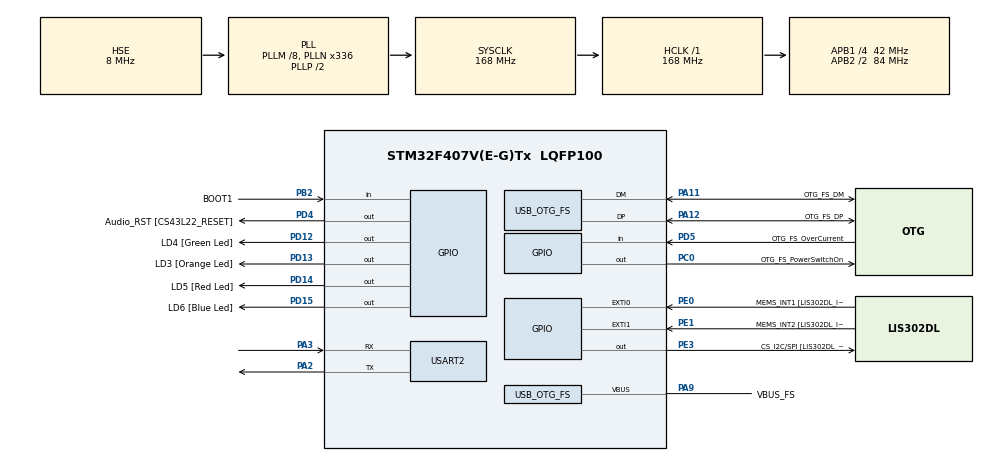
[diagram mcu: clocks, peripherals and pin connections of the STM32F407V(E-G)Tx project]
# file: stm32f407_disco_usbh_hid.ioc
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Mcu.Family=STM32F4
Mcu.Name=STM32F407V(E-G)Tx
Mcu.Package=LQFP100
NVIC.OTG_FS_IRQn=true\:0\:0\:false\:false\:true
NVIC.PriorityGroup=NVIC_PRIORITYGROUP_0
PA10.GPIO_Label=OTG_FS_ID
PA10.GPIO_Mode=GPIO_MODE_AF_PP
PA10.GPIO_PuPd=GPIO_NOPULL
PA10.GPIO_Speed=GPIO_SPEED_FREQ_LOW
PA10.Signal=USB_OTG_FS_ID
PA11.GPIO_Label=OTG_FS_DM
PA11.GPIO_Mode=GPIO_MODE_AF_PP
PA11.GPIO_PuPd=GPIO_NOPULL
PA11.GPIO_Speed=GPIO_SPEED_FREQ_LOW
PA11.Mode=Host_Only
PA11.Signal=USB_OTG_FS_DM
PA12.GPIO_Label=OTG_FS_DP
PA12.GPIO_Mode=GPIO_MODE_AF_PP
PA12.GPIO_PuPd=GPIO_NOPULL
PA12.GPIO_Speed=GPIO_SPEED_FREQ_LOW
PA12.Mode=Host_Only
PA12.Signal=USB_OTG_FS_DP
PA13.GPIO_Label=SWDIO
PA13.Mode=Serial_Wire
PA13.Signal=SYS_JTMS-SWDIO
PA14.GPIO_Label=SWCLK
PA14.Mode=Serial_Wire
PA14.Signal=SYS_JTCK-SWCLK
PA2.Mode=Asynchronous
PA2.Signal=USART2_TX
PA3.Mode=Asynchronous
PA3.Signal=USART2_RX
PA4.GPIO_Label=I2S3_WS [CS43L22_LRCK]
PA4.GPIO_Mode=GPIO_MODE_AF_PP
PA4.GPIO_PuPd=GPIO_NOPULL
PA4.GPIO_Speed=GPIO_SPEED_FREQ_LOW
PA4.Signal=I2S3_WS
PA5.GPIO_Label=SPI1_SCK [LIS302DL_SCL/SPC]
PA5.GPIO_Mode=GPIO_MODE_AF_PP
PA5.GPIO_PuPd=GPIO_NOPULL
PA5.GPIO_Speed=GPIO_SPEED_FREQ_LOW
PA5.Signal=SPI1_SCK
PA6.GPIO_Label=SPI1_MISO [LIS302DL_SDO]
PA6.GPIO_Mode=GPIO_MODE_AF_PP
PA6.GPIO_PuPd=GPIO_NOPULL
PA6.GPIO_Speed=GPIO_SPEED_FREQ_LOW
PA6.Signal=SPI1_MISO
PA7.GPIO_Label=SPI1_MOSI [LIS302DL_SDA/SDI/SDO]
PA7.GPIO_Mode=GPIO_MODE_AF_PP
PA7.GPIO_PuPd=GPIO_NOPULL
PA7.GPIO_Speed=GPIO_SPEED_FREQ_LOW
PA7.Signal=SPI1_MOSI
PA9.GPIO_Label=VBUS_FS
PA9.GPIO_Mode=GPIO_MODE_INPUT
PA9.GPIO_PuPd=GPIO_NOPULL
PA9.Mode=Activate_VBUS
PA9.Signal=USB_OTG_FS_VBUS
PB10.GPIO_Label=CLK_IN [MP45DT02_CLK]
PB10.GPIO_Mode=GPIO_MODE_AF_PP
PB10.GPIO_PuPd=GPIO_NOPULL
PB10.GPIO_Speed=GPIO_SPEED_FREQ_LOW
PB10.Signal=I2S2_CK
PB2.GPIO_Label=BOOT1
PB2.GPIO_Mode=GPIO_MODE_INPUT
PB2.GPIO_PuPd=GPIO_NOPULL
PB2.Signal=GPIO_Input
PB3.GPIO_Label=SWO
PB3.Signal=SYS_JTDO-SWO
PB6.GPIO_Label=Audio_SCL [CS43L22_SCL]
PB6.GPIO_Mode=GPIO_MODE_AF_OD
PB6.GPIO_PuPd=GPIO_NOPULL
PB6.GPIO_Speed=GPIO_SPEED_FREQ_LOW
PB6.Signal=I2C1_SCL
PB9.GPIO_Label=Audio_SDA [CS43L22_SDA]
PB9.GPIO_Mode=GPIO_MODE_AF_OD
PB9.GPIO_PuPd=GPIO_NOPULL
PB9.GPIO_Speed=GPIO_SPEED_FREQ_LOW
PB9.Signal=I2C1_SDA
PC0.GPIO_Label=OTG_FS_PowerSwitchOn
PC0.GPIO_PuPd=GPIO_NOPULL
PC0.GPIO_Speed=GPIO_SPEED_FREQ_LOW
PC0.PinState=GPIO_PIN_SET
PC0.Signal=GPIO_Output
PC10.GPIO_Label=I2S3_SCK [CS43L22_SCLK]
PC10.GPIO_Mode=GPIO_MODE_AF_PP
PC10.GPIO_PuPd=GPIO_NOPULL
PC10.GPIO_Speed=GPIO_SPEED_FREQ_LOW
PC10.Signal=I2S3_CK
PC12.GPIO_Label=I2S3_SD [CS43L22_SDIN]
PC12.GPIO_Mode=GPIO_MODE_AF_PP
PC12.GPIO_PuPd=GPIO_NOPULL
PC12.GPIO_Speed=GPIO_SPEED_FREQ_LOW
PC12.Signal=I2S3_SD
PC14-OSC32_IN.GPIO_Label=PC14-OSC32_IN
PC14-OSC32_IN.Signal=RCC_OSC32_IN
PC15-OSC32_OUT.GPIO_Label=PC15-OSC32_OUT
PC15-OSC32_OUT.Signal=RCC_OSC32_OUT
PC3.GPIO_Label=PDM_OUT [MP45DT02_DOUT]
PC3.GPIO_Mode=GPIO_MODE_AF_PP
PC3.GPIO_PuPd=GPIO_NOPULL
PC3.GPIO_Speed=GPIO_SPEED_FREQ_LOW
PC3.Signal=I2S2_SD
PC7.GPIO_Label=I2S3_MCK [CS43L22_MCLK]
PC7.GPIO_Mode=GPIO_MODE_AF_PP
PC7.GPIO_PuPd=GPIO_NOPULL
PC7.GPIO_Speed=GPIO_SPEED_FREQ_LOW
PC7.Signal=I2S3_MCK
PD12.GPIO_Label=LD4 [Green Led]
PD12.GPIO_PuPd=GPIO_NOPULL
PD12.GPIO_Speed=GPIO_SPEED_FREQ_LOW
PD12.Signal=GPIO_Output
PD13.GPIO_Label=LD3 [Orange Led]
PD13.GPIO_PuPd=GPIO_NOPULL
PD13.GPIO_Speed=GPIO_SPEED_FREQ_LOW
PD13.Signal=GPIO_Output
PD14.GPIO_Label=LD5 [Red Led]
PD14.GPIO_PuPd=GPIO_NOPULL
PD14.GPIO_Speed=GPIO_SPEED_FREQ_LOW
PD14.Signal=GPIO_Output
PD15.GPIO_Label=LD6 [Blue Led]
PD15.GPIO_PuPd=GPIO_NOPULL
PD15.GPIO_Speed=GPIO_SPEED_FREQ_LOW
PD15.Signal=GPIO_Output
PD4.GPIO_Label=Audio_RST [CS43L22_RESET]
PD4.GPIO_PuPd=GPIO_NOPULL
PD4.GPIO_Speed=GPIO_SPEED_FREQ_LOW
PD4.Signal=GPIO_Output
PD5.GPIO_Label=OTG_FS_OverCurrent
PD5.GPIO_Mode=GPIO_MODE_INPUT
PD5.GPIO_PuPd=GPIO_NOPULL
PD5.Signal=GPIO_Input
PE0.GPIO_Label=MEMS_INT1 [LIS302DL_INT1]
PE0.Signal=GPXTI0
PE1.GPIO_Label=MEMS_INT2 [LIS302DL_INT2]
PE1.GPIO_ModeDefaultEXTI=GPIO_MODE_EVT_RISING
PE1.GPIO_PuPd=GPIO_NOPULL
PE1.Signal=GPXTI1
PE3.GPIO_Label=CS_I2C/SPI [LIS302DL_CS_I2C/SPI]
PE3.GPIO_PuPd=GPIO_NOPULL
PE3.GPIO_Speed=GPIO_SPEED_FREQ_LOW
PE3.Signal=GPIO_Output
PH0-OSC_IN.GPIO_Label=PH0-OSC_IN
PH0-OSC_IN.Mode=HSE-External-Oscillator
PH0-OSC_IN.Signal=RCC_OSC_IN
PH1-OSC_OUT.GPIO_Label=PH1-OSC_OUT
PH1-OSC_OUT.Mode=HSE-External-Oscillator
PH1-OSC_OUT.Signal=RCC_OSC_OUT
ProjectManager.HeapSize=0x200
ProjectManager.StackSize=0x400
ProjectManager.TargetToolchain=TrueSTUDIO
RCC.48MHZClocksFreq_Value=48000000
RCC.AHBFreq_Value=168000000
RCC.APB1CLKDivider=RCC_HCLK_DIV4
RCC.APB1Freq_Value=42000000
RCC.APB1TimFreq_Value=84000000
RCC.APB2CLKDivider=RCC_HCLK_DIV2
RCC.APB2Freq_Value=84000000
RCC.APB2TimFreq_Value=168000000
RCC.CortexFreq_Value=168000000
RCC.HCLKFreq_Value=168000000
RCC.HSE_VALUE=8000000
RCC.HSI_VALUE=16000000
RCC.LSE_VALUE=32768
RCC.PLLM=8
RCC.PLLN=336
RCC.PLLQ=7
RCC.SYSCLKFreq_VALUE=168000000
RCC.SYSCLKSource=RCC_SYSCLKSOURCE_PLLCLK
RCC.VCOOutputFreq_Value=336000000
USB_HOST.USBH_DEBUG_LEVEL-HID_FS=3
USB_HOST.USBH_HandleTypeDef-HID_FS=hUsbHostFS
USB_HOST.VirtualModeFS=Hid
USB_OTG_FS.phy_itface=HCD_PHY_EMBEDDED
VP_USB_HOST_VS_USB_HOST_HID_FS.Mode=HID_FS
board=STM32F407G-DISC1

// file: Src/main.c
#include "stm32f4xx_hal.h"
#include "usb_host.h"

UART_HandleTypeDef huart2;

/* USER CODE BEGIN PV */
/* Private variables ---------------------------------------------------------*/

/* USER CODE END PV */

void SystemClock_Config(void);
void Error_Handler(void);
static void MX_GPIO_Init(void);
static void MX_USART2_UART_Init(void);
void MX_USB_HOST_Process(void);

/* USER CODE BEGIN PFP */
/* Private function prototypes -----------------------------------------------*/

/* USER CODE END PFP */

/* USER CODE BEGIN 0 */
int __io_putchar(int ch)
{
  while (!(USART2->SR & USART_SR_TXE)) {}
  USART2->DR = (uint32_t)ch;
  return ch;
}

int _write(int32_t file, uint8_t *ptr, int32_t len)
{
  int i;
  for (i=0; i<len; i++)
  {
    __io_putchar(*(ptr++));
  }
  /* Implement your write code here, this is used by puts and printf for example */
  return len;
}
/* USER CODE END 0 */

int main(void)
{

  /* USER CODE BEGIN 1 */
  uint32_t i = 0;
  /* USER CODE END 1 */

  /* MCU Configuration----------------------------------------------------------*/

  /* Reset of all peripherals, Initializes the Flash interface and the Systick. */
  HAL_Init();

  /* Configure the system clock */
  SystemClock_Config();

  /* Initialize all configured peripherals */
  MX_GPIO_Init();
  MX_USART2_UART_Init();
  MX_USB_HOST_Init();

  /* USER CODE BEGIN 2 */
  HAL_GPIO_WritePin(GPIOD, LD4_Pin, GPIO_PIN_SET);
  printf("hello world!\n");
  HAL_GPIO_WritePin(GPIOD, LD3_Pin, GPIO_PIN_SET);

  HAL_GPIO_WritePin(GPIOC, GPIO_PIN_0, GPIO_PIN_RESET); // Enable usb VBUS
  HAL_GPIO_WritePin(GPIOD, LD5_Pin, GPIO_PIN_SET);

  /* USER CODE END 2 */

  /* Infinite loop */
  while (1)
  {
    MX_USB_HOST_Process();
  /* USER CODE BEGIN 3 */
    if (i++ == 0x10000)
    {
//      GPIOC->ODR ^= GPIO_Pin_1;
      HAL_GPIO_TogglePin(GPIOD, LD5_Pin|LD6_Pin);
      i = 0;
    }
  }
  /* USER CODE END 3 */

}

/** System Clock Configuration
*/
void SystemClock_Config(void)
{

  RCC_OscInitTypeDef RCC_OscInitStruct;
  RCC_ClkInitTypeDef RCC_ClkInitStruct;

  __HAL_RCC_PWR_CLK_ENABLE();

  __HAL_PWR_VOLTAGESCALING_CONFIG(PWR_REGULATOR_VOLTAGE_SCALE1);

  RCC_OscInitStruct.OscillatorType = RCC_OSCILLATORTYPE_HSE;
  RCC_OscInitStruct.HSEState = RCC_HSE_ON;
  RCC_OscInitStruct.PLL.PLLState = RCC_PLL_ON;
  RCC_OscInitStruct.PLL.PLLSource = RCC_PLLSOURCE_HSE;
  RCC_OscInitStruct.PLL.PLLM = 8;
  RCC_OscInitStruct.PLL.PLLN = 336;
  RCC_OscInitStruct.PLL.PLLP = RCC_PLLP_DIV2;
  RCC_OscInitStruct.PLL.PLLQ = 7;
  if (HAL_RCC_OscConfig(&RCC_OscInitStruct) != HAL_OK)
  {
    Error_Handler();
  }

  RCC_ClkInitStruct.ClockType = RCC_CLOCKTYPE_HCLK|RCC_CLOCKTYPE_SYSCLK
                              |RCC_CLOCKTYPE_PCLK1|RCC_CLOCKTYPE_PCLK2;
  RCC_ClkInitStruct.SYSCLKSource = RCC_SYSCLKSOURCE_PLLCLK;
  RCC_ClkInitStruct.AHBCLKDivider = RCC_SYSCLK_DIV1;
  RCC_ClkInitStruct.APB1CLKDivider = RCC_HCLK_DIV4;
  RCC_ClkInitStruct.APB2CLKDivider = RCC_HCLK_DIV2;
  if (HAL_RCC_ClockConfig(&RCC_ClkInitStruct, FLASH_LATENCY_5) != HAL_OK)
  {
    Error_Handler();
  }

  HAL_SYSTICK_Config(HAL_RCC_GetHCLKFreq()/1000);

  HAL_SYSTICK_CLKSourceConfig(SYSTICK_CLKSOURCE_HCLK);

  /* SysTick_IRQn interrupt configuration */
  HAL_NVIC_SetPriority(SysTick_IRQn, 0, 0);
}

/* USART2 init function */
static void MX_USART2_UART_Init(void)
{

  huart2.Instance = USART2;
  huart2.Init.BaudRate = 115200;
  huart2.Init.WordLength = UART_WORDLENGTH_8B;
  huart2.Init.StopBits = UART_STOPBITS_1;
  huart2.Init.Parity = UART_PARITY_NONE;
  huart2.Init.Mode = UART_MODE_TX_RX;
  huart2.Init.HwFlowCtl = UART_HWCONTROL_NONE;
  huart2.Init.OverSampling = UART_OVERSAMPLING_16;
  if (HAL_UART_Init(&huart2) != HAL_OK)
  {
    Error_Handler();
  }

}

/** Configure pins as
        * Analog
        * Input
        * Output
        * EVENT_OUT
        * EXTI
     PC3   ------> I2S2_SD
     PA4   ------> I2S3_WS
     PA5   ------> SPI1_SCK
     PA6   ------> SPI1_MISO
     PA7   ------> SPI1_MOSI
     PB10   ------> I2S2_CK
     PC7   ------> I2S3_MCK
     PC10   ------> I2S3_CK
     PC12   ------> I2S3_SD
     PB6   ------> I2C1_SCL
     PB9   ------> I2C1_SDA
*/
static void MX_GPIO_Init(void)
{

  GPIO_InitTypeDef GPIO_InitStruct;

  /* GPIO Ports Clock Enable */
  __HAL_RCC_GPIOE_CLK_ENABLE();
  __HAL_RCC_GPIOC_CLK_ENABLE();
  __HAL_RCC_GPIOH_CLK_ENABLE();
  __HAL_RCC_GPIOA_CLK_ENABLE();
  __HAL_RCC_GPIOB_CLK_ENABLE();
  __HAL_RCC_GPIOD_CLK_ENABLE();

  /*Configure GPIO pin Output Level */
  HAL_GPIO_WritePin(CS_I2C_SPI_GPIO_Port, CS_I2C_SPI_Pin, GPIO_PIN_RESET);

  /*Configure GPIO pin Output Level */
  HAL_GPIO_WritePin(OTG_FS_PowerSwitchOn_GPIO_Port, OTG_FS_PowerSwitchOn_Pin, GPIO_PIN_SET);

  /*Configure GPIO pin Output Level */
  HAL_GPIO_WritePin(GPIOD, LD4_Pin|LD3_Pin|LD5_Pin|LD6_Pin
                          |Audio_RST_Pin, GPIO_PIN_RESET);

  /*Configure GPIO pin : CS_I2C_SPI_Pin */
  GPIO_InitStruct.Pin = CS_I2C_SPI_Pin;
  GPIO_InitStruct.Mode = GPIO_MODE_OUTPUT_PP;
  GPIO_InitStruct.Pull = GPIO_NOPULL;
  GPIO_InitStruct.Speed = GPIO_SPEED_FREQ_LOW;
  HAL_GPIO_Init(CS_I2C_SPI_GPIO_Port, &GPIO_InitStruct);

  /*Configure GPIO pin : OTG_FS_PowerSwitchOn_Pin */
  GPIO_InitStruct.Pin = OTG_FS_PowerSwitchOn_Pin;
  GPIO_InitStruct.Mode = GPIO_MODE_OUTPUT_PP;
  GPIO_InitStruct.Pull = GPIO_NOPULL;
  GPIO_InitStruct.Speed = GPIO_SPEED_FREQ_LOW;
  HAL_GPIO_Init(OTG_FS_PowerSwitchOn_GPIO_Port, &GPIO_InitStruct);

  /*Configure GPIO pin : PDM_OUT_Pin */
  GPIO_InitStruct.Pin = PDM_OUT_Pin;
  GPIO_InitStruct.Mode = GPIO_MODE_AF_PP;
  GPIO_InitStruct.Pull = GPIO_NOPULL;
  GPIO_InitStruct.Speed = GPIO_SPEED_FREQ_LOW;
  GPIO_InitStruct.Alternate = GPIO_AF5_SPI2;
  HAL_GPIO_Init(PDM_OUT_GPIO_Port, &GPIO_InitStruct);

  /*Configure GPIO pin : PA4 */
  GPIO_InitStruct.Pin = GPIO_PIN_4;
  GPIO_InitStruct.Mode = GPIO_MODE_AF_PP;
  GPIO_InitStruct.Pull = GPIO_NOPULL;
  GPIO_InitStruct.Speed = GPIO_SPEED_FREQ_LOW;
  GPIO_InitStruct.Alternate = GPIO_AF6_SPI3;
  HAL_GPIO_Init(GPIOA, &GPIO_InitStruct);

  /*Configure GPIO pins : PA5 PA6 PA7 */
  GPIO_InitStruct.Pin = GPIO_PIN_5|GPIO_PIN_6|GPIO_PIN_7;
  GPIO_InitStruct.Mode = GPIO_MODE_AF_PP;
  GPIO_InitStruct.Pull = GPIO_NOPULL;
  GPIO_InitStruct.Speed = GPIO_SPEED_FREQ_LOW;
  GPIO_InitStruct.Alternate = GPIO_AF5_SPI1;
  HAL_GPIO_Init(GPIOA, &GPIO_InitStruct);

  /*Configure GPIO pin : BOOT1_Pin */
  GPIO_InitStruct.Pin = BOOT1_Pin;
  GPIO_InitStruct.Mode = GPIO_MODE_INPUT;
  GPIO_InitStruct.Pull = GPIO_NOPULL;
  HAL_GPIO_Init(BOOT1_GPIO_Port, &GPIO_InitStruct);

  /*Configure GPIO pin : CLK_IN_Pin */
  GPIO_InitStruct.Pin = CLK_IN_Pin;
  GPIO_InitStruct.Mode = GPIO_MODE_AF_PP;
  GPIO_InitStruct.Pull = GPIO_NOPULL;
  GPIO_InitStruct.Speed = GPIO_SPEED_FREQ_LOW;
  GPIO_InitStruct.Alternate = GPIO_AF5_SPI2;
  HAL_GPIO_Init(CLK_IN_GPIO_Port, &GPIO_InitStruct);

  /*Configure GPIO pins : LD4_Pin LD3_Pin LD5_Pin LD6_Pin
                           Audio_RST_Pin */
  GPIO_InitStruct.Pin = LD4_Pin|LD3_Pin|LD5_Pin|LD6_Pin
                          |Audio_RST_Pin;
  GPIO_InitStruct.Mode = GPIO_MODE_OUTPUT_PP;
  GPIO_InitStruct.Pull = GPIO_NOPULL;
  GPIO_InitStruct.Speed = GPIO_SPEED_FREQ_LOW;
  HAL_GPIO_Init(GPIOD, &GPIO_InitStruct);

  /*Configure GPIO pins : PC7 I2S3_SCK_Pin PC12 */
  GPIO_InitStruct.Pin = GPIO_PIN_7|I2S3_SCK_Pin|GPIO_PIN_12;
  GPIO_InitStruct.Mode = GPIO_MODE_AF_PP;
  GPIO_InitStruct.Pull = GPIO_NOPULL;
  GPIO_InitStruct.Speed = GPIO_SPEED_FREQ_LOW;
  GPIO_InitStruct.Alternate = GPIO_AF6_SPI3;
  HAL_GPIO_Init(GPIOC, &GPIO_InitStruct);

  /*Configure GPIO pin : OTG_FS_OverCurrent_Pin */
  GPIO_InitStruct.Pin = OTG_FS_OverCurrent_Pin;
  GPIO_InitStruct.Mode = GPIO_MODE_INPUT;
  GPIO_InitStruct.Pull = GPIO_NOPULL;
  HAL_GPIO_Init(OTG_FS_OverCurrent_GPIO_Port, &GPIO_InitStruct);

  /*Configure GPIO pins : Audio_SCL_Pin Audio_SDA_Pin */
  GPIO_InitStruct.Pin = Audio_SCL_Pin|Audio_SDA_Pin;
  GPIO_InitStruct.Mode = GPIO_MODE_AF_OD;
  GPIO_InitStruct.Pull = GPIO_PULLUP;
  GPIO_InitStruct.Speed = GPIO_SPEED_FREQ_LOW;
  GPIO_InitStruct.Alternate = GPIO_AF4_I2C1;
  HAL_GPIO_Init(GPIOB, &GPIO_InitStruct);

  /*Configure GPIO pin : MEMS_INT1_Pin */
  GPIO_InitStruct.Pin = MEMS_INT1_Pin;
  GPIO_InitStruct.Mode = GPIO_MODE_IT_RISING;
  GPIO_InitStruct.Pull = GPIO_NOPULL;
  HAL_GPIO_Init(MEMS_INT1_GPIO_Port, &GPIO_InitStruct);

  /*Configure GPIO pin : MEMS_INT2_Pin */
  GPIO_InitStruct.Pin = MEMS_INT2_Pin;
  GPIO_InitStruct.Mode = GPIO_MODE_EVT_RISING;
  GPIO_InitStruct.Pull = GPIO_NOPULL;
  HAL_GPIO_Init(MEMS_INT2_GPIO_Port, &GPIO_InitStruct);

}

void Error_Handler(void)
{
  while(1)
  {
  }
}

/************************ (C) COPYRIGHT STMicroelectronics *****END OF FILE****/
